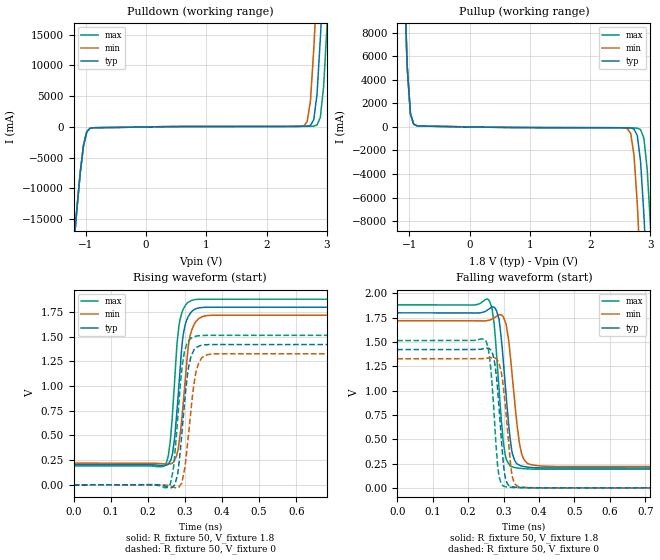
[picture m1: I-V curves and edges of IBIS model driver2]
| IBIS file inv_chain_tr10ps.ibs created by PYS2IBIS3
| Missouri S&T EMC Lab
[IBIS Ver] 7.1
[File Name] inv_chain_tr10ps.ibs
[File Rev] 1.0
[Date] Jul 27, 2026
[Source] Eight-stage inv_chain transistor model characterized with s2ibispy
[Notes] Parameter selection; sim_time=9.970e-10, tr=tf=1.000e-11.
[Component] invchain
[Manufacturer] s2ibispy study
[Package]
| variable   typ   min   max
R_pkg 0 NA NA
L_pkg 0H NA NA
C_pkg 0F NA NA
[Pin]  signal_name   model_name   R_pin   L_pin   C_pin
VSSQ   VSSQ   Gnd
VCCQ   VCCQ   Power
| IN IN dummy
PAD   PAD   driver2
| End of Component
| Models and submodels in the file (1): driver2 (Output)
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[Model] driver2
Model_type Output
Polarity Non-Inverting
Enable Active-High
Vinl  = 0.8V
Vinh  = 2V
C_comp 0.4680pF NA NA
[Temperature Range] 27.0000 27.0000 27.0000
[Voltage Range] 1.8000V 1.7000V 1.9000V
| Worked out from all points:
|   slope of the pulldown table from 0 to 0.27 V, typ, clamps not added: 6.79 ohm
|   slope of the pullup table from 0 to 0.27 V, typ, clamps not added: 12.6 ohm
|   rising waveform, R_fixture 50, V_fixture 1.8: 20-80 % time 20.5ps typ, 22.2ps min, 19.2ps max; typ from 0.204 V to 1.8 V
|   rising waveform, R_fixture 50, V_fixture 0: 20-80 % time 21.6ps typ, 23.4ps min, 20.3ps max; typ from 0 V to 1.42 V
|   falling waveform, R_fixture 50, V_fixture 1.8: 20-80 % time 22.8ps typ, 25.2ps min, 20.9ps max; typ from 1.8 V to 0.204 V
|   falling waveform, R_fixture 50, V_fixture 0: 20-80 % time 18.2ps typ, 20.2ps min, 17.6ps max; typ from 1.42 V to 0 V
[Pulldown]
| Voltage   I(typ)   I(min)   I(max)
-1.8V     -87.88A    -87.88A    -87.88A
-1.2V     -19.4A     -19.4A     -19.4A
-1.036V   -2.952A    -2.948A    -2.955A
-927.3mV  -221.8mA   -216.4mA   -227mA
2.618V    95.77mA    193.1mA    97.15mA
2.727V    244.8mA    4.224A     106.4mA
2.782V    1.151A     12.49A     132.5mA
2.836V    5.27A      23.04A     313.7mA
2.891V    14.25A     33.59A     1.533A
2.946V    24.81A     44.15A     6.464A
3V        35.36A     54.71A     16.02A
3.6V      151.5A     170.8A     132.1A
[Pullup]
| Voltage   I(typ)   I(min)   I(max)
-1.8V     151.4A     151.4A     151.4A
-1.091V   14.2A      14.19A     14.2A
-981.8mV  1.13A      1.129A     1.132A
-872.7mV  99.18mA    97.54mA    100.6mA
2.618V    -78.19mA   -142.5mA   -79.21mA
2.727V    -177.2mA   -2.408A    -86.52mA
2.782V    -728.3mA   -6.523A    -104.6mA
2.836V    -2.952A    -12.18A    -222.3mA
2.891V    -7.391A    -18.4A     -950.7mA
2.946V    -13.22A    -24.62A    -3.561A
3V        -19.44A    -30.85A    -8.297A
3.6V      -87.92A    -99.33A    -76.52A
[Ramp]
| variable   typ   min   max
dV/dt_r 0.8532/0.02171n 0.7968/0.02335n 0.9090/0.0204n
dV/dt_f 0.9575/0.02294n 0.8972/0.02476n 1.0171/0.02128n
R_load = 50
[Rising Waveform]
R_fixture = 50
V_fixture = 1.8
|time   V(typ)   V(min)   V(max)
0s        204.2mV    219.5mV    192.2mV
246.5ps   196.1mV    210.6mV    201.8mV
260.5ps   241.8mV    212.3mV    447mV
271.5ps   451mV      245.9mV    1.017V
281.4ps   891.6mV    359.4mV    1.538V
295.4ps   1.524V     822.6mV    1.781V
308.4ps   1.703V     1.389V     1.849V
314.4ps   1.738V     1.518V     1.864V
360.3ps   1.8V       1.716V     1.882V
997ps     1.8V       1.719V     1.882V
[Rising Waveform]
R_fixture = 50
V_fixture = 0
|time   V(typ)   V(min)   V(max)
0s        13.08nV    12.76nV    13.48nV
256.5ps   -28.04mV   -8.257mV   -14.92mV
269.5ps   -11.96mV   -24.72mV   185.6mV
280.4ps   111.2mV    -28.46mV   670.6mV
291.4ps   506.7mV    16.49mV    1.161V
308.4ps   1.164V     472.1mV    1.452V
323.4ps   1.361V     1.003V     1.5V
336.3ps   1.404V     1.228V     1.51V
366.3ps   1.422V     1.323V     1.515V
997ps     1.422V     1.328V     1.515V
[Falling Waveform]
R_fixture = 50
V_fixture = 1.8
|time   V(typ)   V(min)   V(max)
0s        1.8V       1.719V     1.882V
260.5ps   1.844V     1.725V     1.92V
273.5ps   1.856V     1.749V     1.688V
287.4ps   1.73V      1.78V      1.011V
303.4ps   1.118V     1.718V     362.4mV
314.4ps   652.3mV    1.518V     250mV
322.4ps   400.9mV    1.232V     218.9mV
344.3ps   232.8mV    471.2mV    201.6mV
368.3ps   212.6mV    250.1mV    194.7mV
997ps     204.2mV    219.5mV    192.2mV
[Falling Waveform]
R_fixture = 50
V_fixture = 0
|time   V(typ)   V(min)   V(max)
0s        1.422V     1.328V     1.515V
249.5ps   1.435V     1.331V     1.515V
260.5ps   1.43V      1.336V     1.349V
275.4ps   1.277V     1.338V     641.2mV
286.4ps   873mV      1.289V     140.9mV
301.4ps   183mV      982mV      15.87mV
310.4ps   45.79mV    629.5mV    9.009mV
323.4ps   11.51mV    138.2mV    4.783mV
342.3ps   4.365mV    12.91mV    1.82mV
997ps     12.95nV    12.43nV    13.54nV
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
